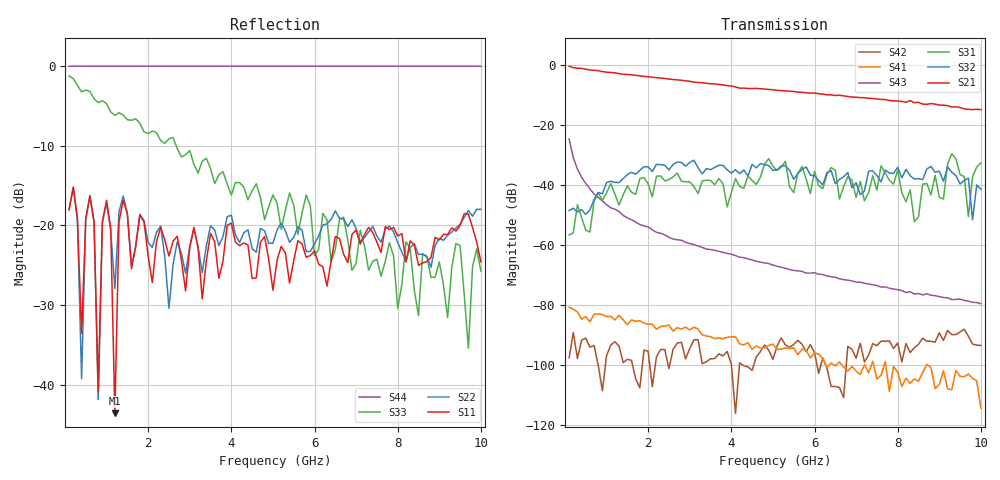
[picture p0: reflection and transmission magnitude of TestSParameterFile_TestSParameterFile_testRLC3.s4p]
# MHz MA S R 50.0
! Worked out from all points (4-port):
!   100 points, 100 MHz to 10 GHz, reference 50 ohm
!   strongest paths, dB at 100 MHz, 2.6 GHz, 5.1 GHz, 7.6 GHz, 10 GHz:
!     S21: -0.5, -4.9, -8.5, -11.6, -14.9
!     S32: -48.5, -33.2, -35.0, -39.0, -41.5
!     S31: -56.7, -37.3, -35.2, -33.6, -32.7
!     S43: -24.7, -58.0, -67.1, -74.0, -79.5
!     S41: -80.7, -88.7, -94.6, -103.4, -114.3
!     S42: -97.6, -94.7, -93.6, -92.0, -93.4
!   lowest |S11| = -43.6 dB at 1.2 GHz (marker M1), VSWR 1.01, Z = 50.5 - j0.457 ohm
!   |S11| at or under -10 dB: start of sweep to end of sweep
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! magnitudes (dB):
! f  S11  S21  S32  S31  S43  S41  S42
! 100 MHz  -18.0  -0.5  -48.5  -56.7  -24.7  -80.7  -97.6
! 500 MHz  -19.2  -1.5  -49.8  -55.1  -39.5  -83.9  -91.0
! 800 MHz  -40.9  -2.0  -42.5  -42.6  -44.2  -82.9  -100.1
! 1 GHz  -16.8  -2.5  -39.2  -42.6  -46.6  -83.8  -96.8
! 1.2 GHz  -43.6  -2.7  -39.2  -43.0  -48.1  -84.9  -92.2
! 1.4 GHz  -16.8  -3.2  -37.9  -43.2  -50.1  -84.9  -99.1
! 10 GHz  -24.6  -14.9  -41.5  -32.7  -79.5  -114.3  -93.4
